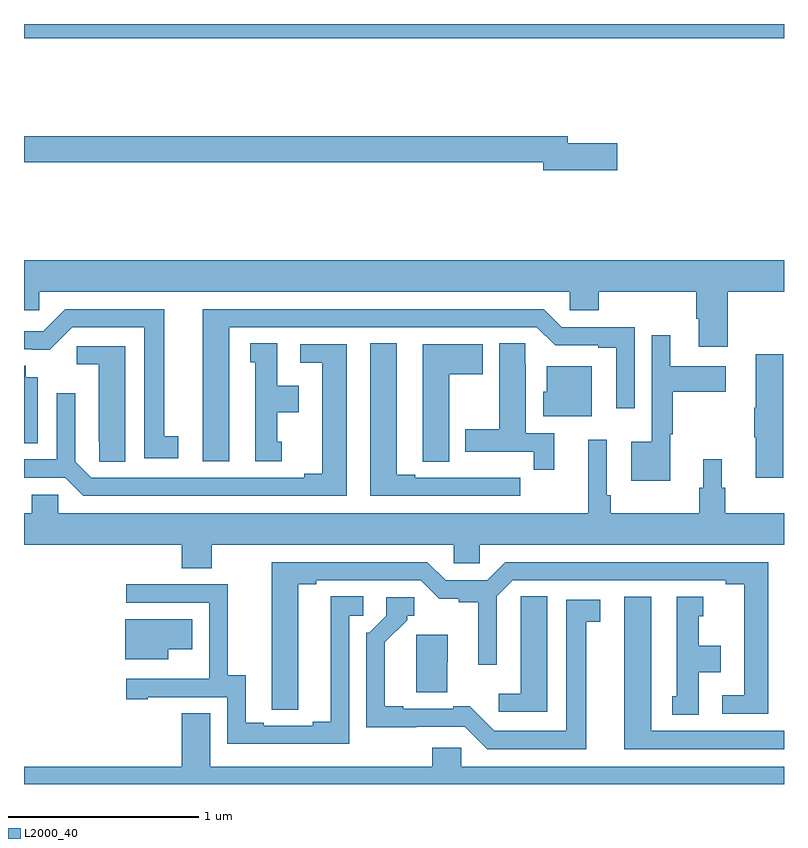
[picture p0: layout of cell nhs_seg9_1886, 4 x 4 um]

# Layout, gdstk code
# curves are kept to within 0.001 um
import gdstk
lib = gdstk.Library(unit=1e-6, precision=1e-09)
def R(c, l, rs):  # rectangles x0, y0, x1, y1
    for r in rs: c.add(gdstk.rectangle(r[:2], r[2:], *l))
def P(c, l, *ps):  # polygons
    for p in ps: c.add(gdstk.Polygon(p, *l))
L2000_40 = (2000, 40)

nhs_seg9_1886 = lib.new_cell('nhs_seg9_1886')
R(nhs_seg9_1886, L2000_40, [(217,1192.424,221,1192.5)])
P(nhs_seg9_1886, L2000_40, [(220.123,1191.872),(219.862,1191.872),(219.862,1191.908),(217,1191.908),(217,1191.772),(219.734,1191.772),(219.734,1191.73),(220.123,1191.73)],
  [(220.703,1191.092),(221,1191.092),(221,1191.256),(217,1191.256),(217,1190.994),(217.08,1190.994),(217.08,1191.092),(219.873,1191.092),(219.873,1190.994),(220.025,1190.994),(220.025,1191.092),(220.538,1191.092),(220.538,1190.95),(220.55,1190.95),(220.55,1190.802),(220.703,1190.802)],
  [(218.08,1190.904),(219.699,1190.904),(219.795,1190.808),(220.022,1190.808),(220.022,1190.796),(220.118,1190.796),(220.118,1190.478),(220.215,1190.478),(220.215,1190.904),(219.831,1190.904),(219.735,1191),(217.94,1191),(217.94,1190.199),(218.08,1190.199)],
  [(217.813,1190.33),(217.738,1190.33),(217.738,1191),(217.218,1191),(217.101,1190.883),(217,1190.883),(217,1190.787),(217.136,1190.786),(217.254,1190.904),(217.634,1190.904),(217.634,1190.214),(217.813,1190.214)],
  [(220.402,1190.34),(220.414,1190.34),(220.414,1190.564),(220.693,1190.564),(220.693,1190.698),(220.402,1190.698),(220.402,1190.863),(220.305,1190.863),(220.305,1190.302),(220.196,1190.302),(220.196,1190.096),(220.402,1190.096)],
  [(219.791,1190.346),(219.64,1190.346),(219.64,1190.708),(219.639,1190.708),(219.639,1190.819),(219.5,1190.819),(219.5,1190.367),(219.323,1190.367),(219.323,1190.25),(219.682,1190.25),(219.682,1190.154),(219.791,1190.154)],
  [(219.613,1190.112),(219.5,1190.112),(219.5,1190.113),(219.334,1190.113),(219.334,1190.112),(219.058,1190.112),(219.058,1190.127),(218.962,1190.127),(218.962,1190.819),(218.822,1190.819),(218.822,1190.016),(219.613,1190.016)],
  [(218.356,1190.301),(218.332,1190.301),(218.332,1190.456),(218.446,1190.456),(218.446,1190.596),(218.332,1190.596),(218.332,1190.819),(218.192,1190.819),(218.192,1190.721),(218.216,1190.721),(218.216,1190.199),(218.356,1190.199)],
  [(219.238,1190.656),(219.415,1190.656),(219.415,1190.815),(219.098,1190.815),(219.098,1190.305),(219.099,1190.305),(219.099,1190.197),(219.238,1190.197)],
  [(218.698,1190.814),(218.454,1190.814),(218.454,1190.718),(218.57,1190.718),(218.57,1190.132),(218.474,1190.132),(218.474,1190.112),(217.353,1190.112),(217.269,1190.196),(217.269,1190.557),(217.173,1190.557),(217.173,1190.208),(217,1190.208),(217,1190.112),(217.217,1190.112),(217.313,1190.016),(218.698,1190.016)],
  [(217.534,1190.805),(217.278,1190.805),(217.278,1190.708),(217.394,1190.708),(217.394,1190.305),(217.395,1190.305),(217.395,1190.197),(217.534,1190.197)],
  [(220.997,1190.761),(220.85,1190.761),(220.85,1190.48),(220.843,1190.48),(220.843,1190.324),(220.85,1190.324),(220.85,1190.112),(220.997,1190.112)],
  [(217.072,1190.641),(217.009,1190.641),(217.009,1190.702),(217,1190.702),(217,1190.293),(217.072,1190.293)],
  [(219.988,1190.698),(219.752,1190.698),(219.752,1190.565),(219.734,1190.565),(219.734,1190.435),(219.988,1190.435)],
  [(217.989,1189.76),(219.261,1189.76),(219.261,1189.662),(219.399,1189.662),(219.399,1189.76),(221,1189.76),(221,1189.924),(220.691,1189.924),(220.691,1190.058),(220.672,1190.058),(220.672,1190.209),(220.574,1190.209),(220.574,1190.058),(220.555,1190.058),(220.555,1189.924),(220.088,1189.924),(220.088,1190.02),(220.068,1190.02),(220.068,1190.311),(219.971,1190.311),(219.971,1189.924),(217.179,1189.924),(217.179,1190.022),(217.041,1190.022),(217.041,1189.924),(217,1189.924),(217,1189.76),(217.829,1189.76),(217.829,1189.636),(217.989,1189.636)],
  [(220.918,1189.668),(219.533,1189.668),(219.437,1189.572),(219.219,1189.572),(219.123,1189.668),(218.303,1189.668),(218.304,1188.892),(218.443,1188.892),(218.443,1189.552),(218.539,1189.552),(218.539,1189.572),(219.087,1189.572),(219.185,1189.475),(219.288,1189.475),(219.288,1189.456),(219.392,1189.456),(219.392,1189.128),(219.489,1189.128),(219.489,1189.488),(219.573,1189.572),(220.694,1189.572),(220.694,1189.552),(220.79,1189.552),(220.79,1188.966),(220.674,1188.966),(220.674,1188.87),(220.918,1188.87)],
  [(218.712,1189.386),(218.785,1189.386),(218.785,1189.487),(218.615,1189.487),(218.615,1188.827),(218.519,1188.827),(218.519,1188.807),(218.263,1188.807),(218.263,1188.822),(218.167,1188.822),(218.167,1189.073),(218.073,1189.073),(218.073,1189.551),(217.539,1189.551),(217.539,1189.455),(217.974,1189.455),(217.974,1189.054),(217.973,1189.054),(217.973,1189.053),(217.539,1189.053),(217.539,1188.945),(217.651,1188.945),(217.651,1188.957),(218.07,1188.957),(218.07,1188.711),(218.712,1188.711)],
  [(219.754,1189.487),(219.615,1189.487),(219.615,1189.379),(219.614,1189.379),(219.614,1188.976),(219.498,1188.976),(219.498,1188.879),(219.754,1188.879)],
  [(221,1188.78),(220.3,1188.78),(220.3,1189.486),(220.16,1189.486),(220.16,1188.684),(221,1188.684)],
  [(220.552,1189.088),(220.666,1189.088),(220.666,1189.228),(220.552,1189.228),(220.552,1189.383),(220.576,1189.383),(220.576,1189.486),(220.436,1189.486),(220.436,1188.963),(220.412,1188.963),(220.412,1188.865),(220.552,1188.865)],
  [(219.958,1189.354),(220.033,1189.354),(220.033,1189.47),(219.854,1189.47),(219.854,1188.78),(219.474,1188.78),(219.346,1188.908),(219.26,1188.908),(219.26,1188.897),(218.995,1188.897),(218.995,1188.91),(218.899,1188.91),(218.899,1189.246),(219.016,1189.363),(219.016,1189.386),(219.055,1189.386),(219.055,1189.482),(218.907,1189.482),(218.907,1189.386),(218.817,1189.296),(218.802,1189.296),(218.802,1188.8),(219.321,1188.801),(219.438,1188.684),(219.958,1188.684)],
  [(217.759,1189.208),(217.885,1189.208),(217.885,1189.366),(217.532,1189.366),(217.532,1189.157),(217.759,1189.157)],
  [(219.228,1189.14),(219.229,1189.14),(219.229,1189.285),(219.065,1189.285),(219.065,1188.982),(219.228,1188.982)],
  [(221,1188.592),(219.3,1188.592),(219.3,1188.69),(219.149,1188.69),(219.149,1188.592),(217.981,1188.592),(217.981,1188.872),(217.829,1188.872),(217.829,1188.592),(217,1188.592),(217,1188.5),(221,1188.5)])

lib.write_gds('nhs_seg9_1886.gds')
